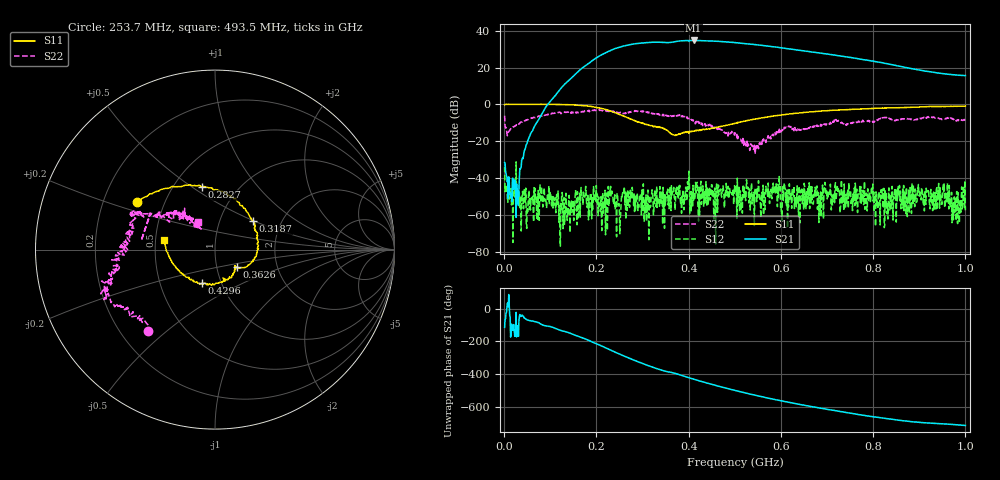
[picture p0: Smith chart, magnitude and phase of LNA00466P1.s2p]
! Created with skrf 1.9.0 (http://scikit-rf.org).
# Hz S RI R 50.0
!freq ReS11 ImS11 ReS21 ImS21 ReS12 ImS12 ReS22 ImS22
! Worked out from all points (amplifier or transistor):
!   1001 points, 1 MHz to 1 GHz, reference 50 ohm
!   highest |S21| = 34.7 dB at 410.6 MHz (marker M1)
!   |S21| within 3 dB of that: 260.1 MHz to 569.5 MHz (309.4 MHz wide, 74.6 % of centre)
!   unconditionally stable (mu >= 1): 218.8 MHz to 301.7 MHz; 301.7 MHz to 400.4 MHz; 400.9 MHz to end of sweep (the widest 3 of 43)
!   at 166.8 MHz: K = 1.03, MAG = 31.2 dB, |S12| = -45.2 dB
!   at 500.5 MHz: K = 2.46, MAG = 34.1 dB, |S12| = -48.0 dB
!   at 1 GHz: K = 10.37, MAG = 23.5 dB, |S12| = -57.6 dB
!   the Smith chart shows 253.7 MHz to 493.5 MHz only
!   S11 on the Smith chart (normalised r, x): 253.7 MHz: 0.35, +0.25; 282.7 MHz: 0.69, +0.55; 318.7 MHz: 1.44, +0.49; 362.6 MHz: 1.25, -0.25; 429.6 MHz: 0.81, -0.32; 493.5 MHz: 0.55, +0.07
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1000000  0.9788 0.00812  -0.0107 -0.024  -0.0123 0.0161  0.367 0.3244
1.08892e8  0.5287 -0.8433  -0.7547 -1.44  0.00241 0.000738  0.421 -0.3872
1.67833e8  -0.2233 -0.9053  -9.341 -0.6573  0.00308 -7.17e-05  0.0313 -0.6316
2.13787e8  -0.6821 -0.3283  -14.67 17.73  0.00109 -0.00384  -0.2477 -0.6392
2.32768e8  -0.6448 -0.0105  -7.34 28.98  -0.00248 -0.00232  -0.297 -0.5801
2.53747e8  -0.4359 0.2631  7.623 35.86  0.00182 0.00129  -0.371 -0.4548
2.82718e8  -0.0714 0.3488  31.65 30.35  0.00105 -0.00064  -0.5951 -0.2433
3.18682e8  0.2129 0.1579  48.34 4.776  -0.00189 0.00249  -0.5724 -0.1078
3.34666e8  0.2421 0.0239  48.02 -8.555  -0.00196 0.00166  -0.5256 -0.0302
3.62638e8  0.1238 -0.0984  41.95 -24.37  -0.00378 0.00487  -0.462 0.0896
3.82618e8  0.1083 -0.1168  36.77 -38.27  0.00183 0.00094  -0.4323 0.2114
4.1059e8  0.0213 -0.1846  17.68 -51.43  -0.000615 0.0024  -0.3073 0.2092
4.29571e8  -0.0748 -0.1876  3.157 -53.47  0.00222 0.00197  -0.2163 0.2125
4.59541e8  -0.2091 -0.1063  -17.76 -48.73  0.00413 0.00038  -0.1422 0.1859
4.93507e8  -0.2845 0.0544  -34.17 -34.25  -0.000164 0.00356  -0.0961 0.1565
5.005e8  -0.2862 0.0984  -36.61 -30.73  0.000596 -0.00394  -0.1271 0.111
5.4046e8  -0.2386 0.3105  -41.26 -9.539  -7.14e-05 -0.00223  -0.0583 -0.0123
5.88412e8  -0.0466 0.4869  -34.5 10.43  0.00341 -0.00132  -0.1355 -0.0639
6.67333e8  0.3287 0.5347  -13.37 22.66  0.00189 -0.00544  -0.2388 -0.0514
7.53247e8  0.6286 0.3667  3.389 18.14  -0.00271 0.000243  -0.3077 0.0217
8.34166e8  0.7867 0.1434  8.684 8.846  -0.00339 0.00416  -0.4124 0.0753
1e9  0.8122 -0.3871  6.02 0.5789  -0.00131 -0.00019  -0.1633 0.3335
